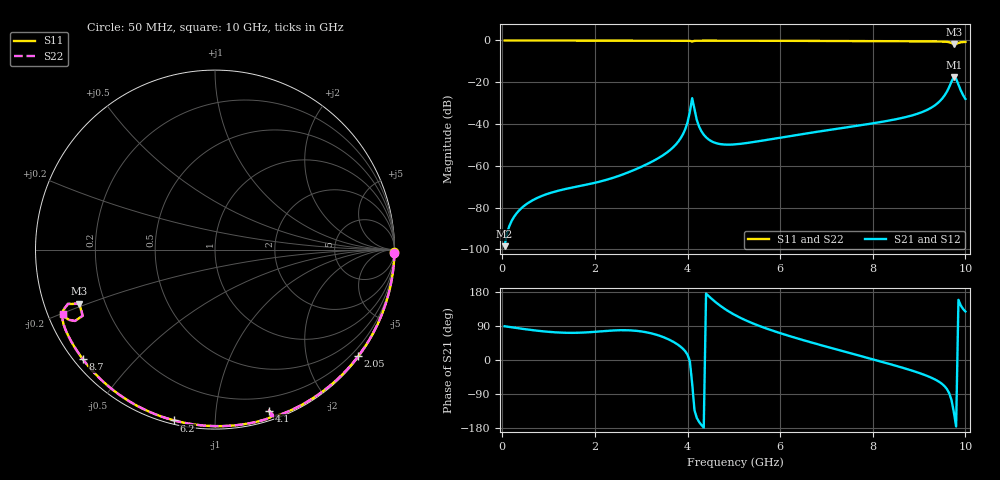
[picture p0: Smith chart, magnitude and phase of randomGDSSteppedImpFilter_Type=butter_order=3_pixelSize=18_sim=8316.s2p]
! freq	dB(S11)	phase(S11)	dB(S12)	phase(S12)
!  dB(S21)	phase(S21)	dB(S22)	phase(S22)
!S-par simulation data
#  GHz  S  DB  R 50
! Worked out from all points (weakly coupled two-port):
!   200 points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, 50 MHz to 10 GHz, reference 50 ohm
!   highest |S21| = -17.63 dB at 9.75 GHz (marker M1); lowest = -98.5 dB at 50 MHz (marker M2)
!   lowest |S11| = -1.8 dB at 9.75 GHz (marker M3), VSWR 9.76, Z = 5.31 - j9.5 ohm
!   |S11| at or under -10 dB: nowhere
!   |S22| runs from -1.8 to 0.0 dB; largest |S21 - S12| = 0
!   S11 on the Smith chart (normalised r, x): 50 MHz: open; 2.05 GHz: 0.03, -3.02; 4.1 GHz: 0.08, -1.39; 6.2 GHz: 0.02, -0.79; 8.7 GHz: 0.03, -0.36; 10 GHz: 0.04, -0.20
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0.05  -0.00 -0.9  -98.48 89.1  -98.48 89.1  -0.00 -0.9
0.4  -0.01 -7.3  -80.56 82.9  -80.56 82.9  -0.01 -7.3
0.95  -0.02 -17.2  -73.64 74.9  -73.64 74.9  -0.02 -17.2
1.75  -0.04 -31.4  -69.34 72.4  -69.34 72.4  -0.04 -31.4
2.05  -0.05 -36.7  -67.88 74.8  -67.88 74.8  -0.05 -36.7
3.4  -0.08 -59.7  -55.94 63.9  -55.94 63.9  -0.08 -59.7
3.7  -0.09 -64.7  -50.93 47.5  -50.93 47.5  -0.09 -64.7
3.9  -0.10 -68.1  -44.95 29.7  -44.95 29.7  -0.10 -68.1
4  -0.12 -70.1  -39.20 14.0  -39.20 14.0  -0.12 -70.1
4.1  -0.48 -71.4  -27.62 -62.1  -27.62 -62.1  -0.48 -71.4
4.25  -0.12 -72.9  -41.27 -163.5  -41.27 -163.5  -0.12 -73.0
4.4  -0.11 -75.6  -46.36 175.3  -46.36 175.3  -0.11 -75.6
4.65  -0.12 -79.6  -49.37 148.4  -49.37 148.4  -0.12 -79.7
5.05  -0.13 -86.0  -49.69 117.0  -49.69 117.0  -0.13 -86.0
6.2  -0.19 -103.5  -45.81 63.3  -45.81 63.3  -0.19 -103.5
6.7  -0.22 -110.9  -44.06 45.4  -44.06 45.4  -0.22 -110.9
8.35  -0.35 -135.2  -38.36 -10.0  -38.36 -10.0  -0.35 -135.2
8.7  -0.39 -140.4  -36.74 -22.4  -36.74 -22.4  -0.39 -140.5
9.4  -0.49 -151.9  -30.03 -55.1  -30.03 -55.1  -0.50 -152.0
9.55  -0.58 -155.2  -26.34 -69.1  -26.34 -69.1  -0.58 -155.3
9.75  -1.79 -158.2  -17.63 -137.3  -17.63 -137.3  -1.80 -158.3
10  -0.70 -157.0  -27.99 128.1  -27.99 128.1  -0.70 -157.0
